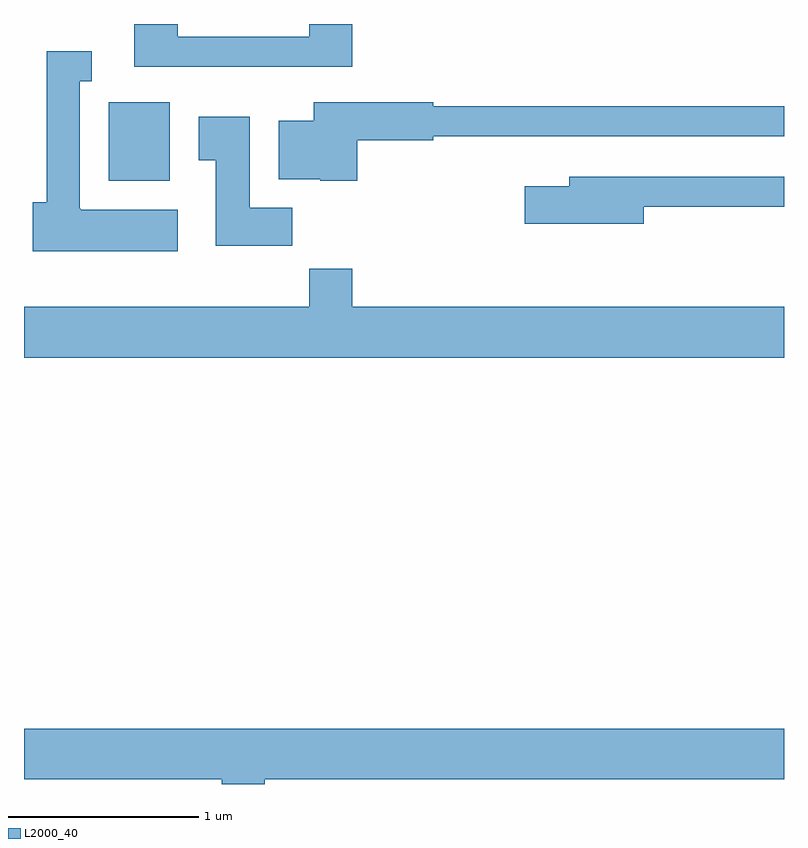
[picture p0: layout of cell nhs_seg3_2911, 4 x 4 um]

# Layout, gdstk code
import gdstk
lib = gdstk.Library(unit=1e-6, precision=1e-09)
def R(c, l, rs):  # rectangles x0, y0, x1, y1
    for r in rs: c.add(gdstk.rectangle(r[:2], r[2:], *l))
def P(c, l, *ps):  # polygons
    for p in ps: c.add(gdstk.Polygon(p, *l))
L2000_40 = (2000, 40)

nhs_seg3_2911 = lib.new_cell('nhs_seg3_2911')
R(nhs_seg3_2911, L2000_40, [(270.056,1229.066,270.379,1229.479)])
P(nhs_seg3_2911, L2000_40, [(271.339,1229.892),(271.111,1229.892),(271.111,1229.824),(270.419,1229.824),(270.419,1229.892),(270.191,1229.892),(270.191,1229.666),(271.339,1229.666)],
  [(270.419,1228.914),(269.91,1228.914),(269.91,1228.92),(269.904,1228.92),(269.904,1229.591),(269.968,1229.591),(269.968,1229.749),(269.731,1229.749),(269.731,1228.954),(269.656,1228.954),(269.656,1228.696),(270.419,1228.696)],
  [(271.364,1229.281),(271.764,1229.281),(271.764,1229.301),(273.611,1229.301),(273.611,1229.459),(271.764,1229.459),(271.764,1229.479),(271.136,1229.479),(271.136,1229.384),(270.951,1229.384),(270.951,1229.076),(271.17,1229.076),(271.17,1229.066),(271.364,1229.066)],
  [(271.024,1228.924),(270.799,1228.924),(270.799,1229.404),(270.531,1229.404),(270.531,1229.176),(270.621,1229.176),(270.621,1228.726),(271.024,1228.726)],
  [(272.874,1228.931),(273.611,1228.931),(273.611,1229.089),(272.481,1229.089),(272.481,1229.039),(272.246,1229.039),(272.246,1228.841),(272.874,1228.841)],
  [(273.611,1228.404),(271.339,1228.404),(271.339,1228.604),(271.111,1228.604),(271.111,1228.404),(269.611,1228.404),(269.611,1228.136),(273.611,1228.136)],
  [(270.879,1225.916),(273.611,1225.916),(273.611,1226.184),(269.611,1226.184),(269.611,1225.916),(270.651,1225.916),(270.651,1225.892),(270.879,1225.892)])

lib.write_gds('nhs_seg3_2911.gds')
